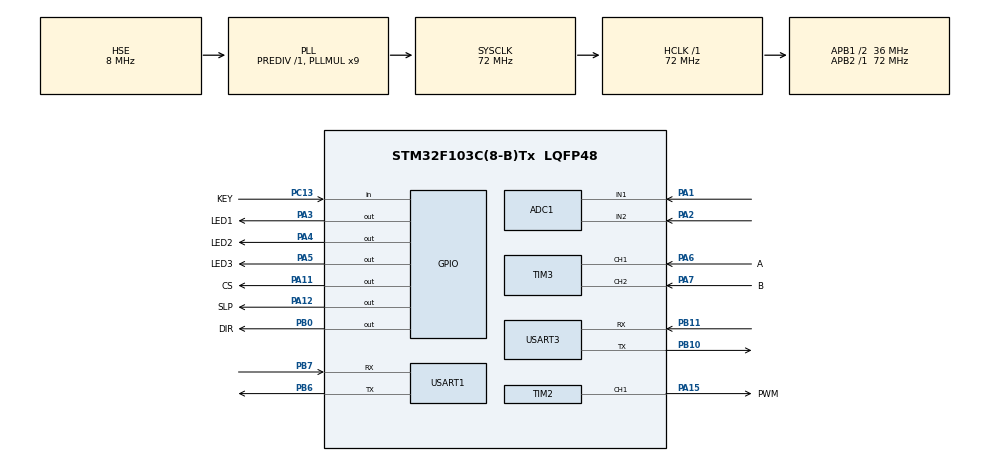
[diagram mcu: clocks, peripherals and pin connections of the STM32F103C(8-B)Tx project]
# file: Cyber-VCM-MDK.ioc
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ADC1.Channel-0\#ChannelRegularConversion=ADC_CHANNEL_1
ADC1.Channel-1\#ChannelRegularConversion=ADC_CHANNEL_2
ADC1.ContinuousConvMode=ENABLE
ADC1.DiscontinuousConvMode=DISABLE
ADC1.NbrOfConversion=2
ADC1.NbrOfConversionFlag=1
ADC1.Rank-0\#ChannelRegularConversion=1
ADC1.Rank-1\#ChannelRegularConversion=2
ADC1.SamplingTime-0\#ChannelRegularConversion=ADC_SAMPLETIME_55CYCLES_5
ADC1.SamplingTime-1\#ChannelRegularConversion=ADC_SAMPLETIME_13CYCLES_5
ADC1.master=1
FREERTOS.Tasks01=GetDataTask,24,128,StartGetDataTask,Default,NULL,Dynamic,NULL,NULL;ShowDataTask,8,128,StartShowDataTask,Default,NULL,Dynamic,NULL,NULL;ControlMethodTa,8,128,StartControlMethodTask,Default,NULL,Dynamic,NULL,NULL
Mcu.Family=STM32F1
Mcu.Name=STM32F103C(8-B)Tx
Mcu.Package=LQFP48
NVIC.ADC1_2_IRQn=true\:5\:0\:true\:false\:true\:true\:true\:true
NVIC.PriorityGroup=NVIC_PRIORITYGROUP_4
NVIC.TIM1_UP_IRQn=true\:15\:0\:false\:false\:true\:false\:false\:true
NVIC.TIM4_IRQn=true\:5\:0\:false\:false\:true\:true\:true\:true
NVIC.TimeBase=TIM1_UP_IRQn
NVIC.TimeBaseIP=TIM1
NVIC.USART1_IRQn=true\:5\:0\:false\:false\:true\:true\:true\:true
NVIC.USART3_IRQn=true\:5\:0\:false\:false\:true\:true\:true\:true
PA1.Signal=ADCx_IN1
PA11.GPIO_Label=CS
PA11.Signal=GPIO_Output
PA12.GPIO_Label=SLP
PA12.Signal=GPIO_Output
PA13.Mode=Serial_Wire
PA13.Signal=SYS_JTMS-SWDIO
PA14.Mode=Serial_Wire
PA14.Signal=SYS_JTCK-SWCLK
PA15.GPIO_Label=PWM
PA15.Signal=S_TIM2_CH1_ETR
PA2.Signal=ADCx_IN2
PA3.GPIO_Label=LED1
PA3.Signal=GPIO_Output
PA4.GPIO_Label=LED2
PA4.Signal=GPIO_Output
PA5.GPIO_Label=LED3
PA5.Signal=GPIO_Output
PA6.GPIO_Label=A
PA6.Signal=S_TIM3_CH1
PA7.GPIO_Label=B
PA7.Signal=S_TIM3_CH2
PB0.GPIO_Label=DIR
PB0.Signal=GPIO_Output
PB10.Mode=Asynchronous
PB10.Signal=USART3_TX
PB11.Mode=Asynchronous
PB11.Signal=USART3_RX
PB6.Mode=Asynchronous
PB6.Signal=USART1_TX
PB7.GPIO_PuPd=GPIO_PULLUP
PB7.Mode=Asynchronous
PB7.Signal=USART1_RX
PC13-TAMPER-RTC.GPIO_Label=KEY
PC13-TAMPER-RTC.Signal=GPIO_Input
PD0-OSC_IN.Mode=HSE-External-Oscillator
PD0-OSC_IN.Signal=RCC_OSC_IN
PD1-OSC_OUT.Mode=HSE-External-Oscillator
PD1-OSC_OUT.Signal=RCC_OSC_OUT
ProjectManager.HeapSize=0x200
ProjectManager.StackSize=0x400
ProjectManager.TargetToolchain=MDK-ARM V5.32
RCC.ADCPresc=RCC_ADCPCLK2_DIV6
RCC.AHBFreq_Value=72000000
RCC.APB1CLKDivider=RCC_HCLK_DIV2
RCC.APB1Freq_Value=36000000
RCC.APB1TimFreq_Value=72000000
RCC.APB2Freq_Value=72000000
RCC.APB2TimFreq_Value=72000000
RCC.HCLKFreq_Value=72000000
RCC.PLLMUL=RCC_PLL_MUL9
RCC.PLLSourceVirtual=RCC_PLLSOURCE_HSE
RCC.SYSCLKFreq_VALUE=72000000
RCC.SYSCLKSource=RCC_SYSCLKSOURCE_PLLCLK
RCC.USBFreq_Value=72000000
SH.ADCx_IN1.0=ADC1_IN1,IN1
SH.ADCx_IN2.0=ADC1_IN2,IN2
SH.S_TIM2_CH1_ETR.0=TIM2_CH1,PWM Generation1 CH1
SH.S_TIM3_CH1.0=TIM3_CH1,Encoder_Interface
SH.S_TIM3_CH2.0=TIM3_CH2,Encoder_Interface
TIM2.Channel-PWM\ Generation1\ CH1=TIM_CHANNEL_1
TIM2.Period=50-1
TIM2.Prescaler=72-1
TIM4.AutoReloadPreload=TIM_AUTORELOAD_PRELOAD_ENABLE
TIM4.Period=199
TIM4.Prescaler=7199
USART1.VirtualMode=VM_ASYNC
USART3.VirtualMode=VM_ASYNC
VP_FREERTOS_VS_CMSIS_V2.Mode=CMSIS_V2
VP_SYS_VS_tim1.Mode=TIM1
VP_TIM2_VS_ClockSourceINT.Mode=Internal
VP_TIM4_VS_ClockSourceINT.Mode=Internal
board=custom

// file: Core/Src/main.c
/* USER CODE BEGIN Header */
/**
  ******************************************************************************
  * @file           : main.c
  * @brief          : Main program body
  ******************************************************************************
  * @attention
  *
  * <h2><center>&copy; Copyright (c) 2021 STMicroelectronics.
  * All rights reserved.</center></h2>
  *
  * This software component is licensed by ST under Ultimate Liberty license
  * SLA0044, the "License"; You may not use this file except in compliance with
  * the License. You may obtain a copy of the License at:
  *                             www.st.com/SLA0044
  *
  ******************************************************************************
  */

/**
 * @brief Cyber-VCM Main Promgram
 * @time 2021.11 Written By Mr. Panghong
 * @note Voice Coil Motor Position Control Item
 */

/* USER CODE END Header */
#include "main.h"
#include "cmsis_os.h"
#include "adc.h"
#include "tim.h"
#include "usart.h"
#include "gpio.h"

/* USER CODE BEGIN Includes */
#include "AM26C32.h"
#include "MotorADC.h"
#include "VCMControl.h"
#include "param.h"
#include "SpeedPID.h"
#include "tof200f_uart.h"
#include "oled.h"
/* USER CODE END Includes */

void SystemClock_Config(void);
void MX_FREERTOS_Init(void);

int main(void)
{
  /* USER CODE BEGIN 1 */
  //unsigned int distance;
  /* USER CODE END 1 */

  /* MCU Configuration--------------------------------------------------------*/

  /* Reset of all peripherals, Initializes the Flash interface and the Systick. */
  HAL_Init();

  /* Configure the system clock */
  SystemClock_Config();

  /* Initialize all configured peripherals */
  MX_GPIO_Init();
  MX_ADC1_Init();
  MX_TIM2_Init();
  MX_TIM3_Init();
  MX_USART1_UART_Init();
  MX_TIM4_Init();
  MX_USART3_UART_Init();
  /* USER CODE BEGIN 2 */
  if(HAL_ADC_Start_IT(&hadc1) != HAL_OK){
	HAL_GPIO_TogglePin(LED1_GPIO_Port, LED1_Pin);
  }
  HAL_TIM_Base_Start_IT(&htim4);
  //MotorADCStartDMA();	//Start ADC Transfer
  HAL_GPIO_WritePin(CS_GPIO_Port, CS_Pin, GPIO_PIN_SET);
  HAL_GPIO_WritePin(SLP_GPIO_Port, SLP_Pin, GPIO_PIN_SET);
  HAL_TIM_PWM_Start(&htim2, TIM_CHANNEL_1);//start pwm
  /**
   * @brief 电机回到原点操作
   * @note 因为光栅编码器是相对位置式，因此在光栅初始化之前需要驱动电机回原点
   */
  VCMGoToOrigin();
  VCMEncoderInit();
  tof200f_init();
  OLED_Init();
  HAL_Delay(50);
  OLED_Windows_Style1();
  printf("System Init Successful\n");
  /* USER CODE END 2 */

  /* Init scheduler */
  osKernelInitialize();  /* Call init function for freertos objects (in freertos.c) */
  MX_FREERTOS_Init();
  /* Start scheduler */
  osKernelStart();

  /* We should never get here as control is now taken by the scheduler */
  /* Infinite loop */
  /* USER CODE BEGIN WHILE */
  //tof200f_init();
  while (1)
  {
    /* USER CODE END WHILE */

    /* USER CODE BEGIN 3 */
	//distance = tof200f_trans();
  }
  /* USER CODE END 3 */
}

void SystemClock_Config(void)
{
  RCC_OscInitTypeDef RCC_OscInitStruct = {0};
  RCC_ClkInitTypeDef RCC_ClkInitStruct = {0};
  RCC_PeriphCLKInitTypeDef PeriphClkInit = {0};

  /** Initializes the RCC Oscillators according to the specified parameters
  * in the RCC_OscInitTypeDef structure.
  */
  RCC_OscInitStruct.OscillatorType = RCC_OSCILLATORTYPE_HSE;
  RCC_OscInitStruct.HSEState = RCC_HSE_ON;
  RCC_OscInitStruct.HSEPredivValue = RCC_HSE_PREDIV_DIV1;
  RCC_OscInitStruct.HSIState = RCC_HSI_ON;
  RCC_OscInitStruct.PLL.PLLState = RCC_PLL_ON;
  RCC_OscInitStruct.PLL.PLLSource = RCC_PLLSOURCE_HSE;
  RCC_OscInitStruct.PLL.PLLMUL = RCC_PLL_MUL9;
  if (HAL_RCC_OscConfig(&RCC_OscInitStruct) != HAL_OK)
  {
    Error_Handler();
  }
  /** Initializes the CPU, AHB and APB buses clocks
  */
  RCC_ClkInitStruct.ClockType = RCC_CLOCKTYPE_HCLK|RCC_CLOCKTYPE_SYSCLK
                              |RCC_CLOCKTYPE_PCLK1|RCC_CLOCKTYPE_PCLK2;
  RCC_ClkInitStruct.SYSCLKSource = RCC_SYSCLKSOURCE_PLLCLK;
  RCC_ClkInitStruct.AHBCLKDivider = RCC_SYSCLK_DIV1;
  RCC_ClkInitStruct.APB1CLKDivider = RCC_HCLK_DIV2;
  RCC_ClkInitStruct.APB2CLKDivider = RCC_HCLK_DIV1;

  if (HAL_RCC_ClockConfig(&RCC_ClkInitStruct, FLASH_LATENCY_2) != HAL_OK)
  {
    Error_Handler();
  }
  PeriphClkInit.PeriphClockSelection = RCC_PERIPHCLK_ADC;
  PeriphClkInit.AdcClockSelection = RCC_ADCPCLK2_DIV6;
  if (HAL_RCCEx_PeriphCLKConfig(&PeriphClkInit) != HAL_OK)
  {
    Error_Handler();
  }
}

/* USER CODE BEGIN 4 */
extern Main_Data main_data;
extern PWM_Control_Params pwm_control_params;
/* USER CODE END 4 */

void HAL_TIM_PeriodElapsedCallback(TIM_HandleTypeDef *htim)
{
  if (htim->Instance == TIM1) {
    HAL_IncTick();
  }
}

void Error_Handler(void)
{
  __disable_irq();
  while (1)
  {
  }
}

/************************ (C) COPYRIGHT STMicroelectronics *****END OF FILE****/

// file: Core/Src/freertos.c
/* USER CODE BEGIN Header */
/**
  ******************************************************************************
  * File Name          : freertos.c
  * Description        : Code for freertos applications
  ******************************************************************************
  * @attention
  *
  * <h2><center>&copy; Copyright (c) 2021 STMicroelectronics.
  * All rights reserved.</center></h2>
  *
  * This software component is licensed by ST under Ultimate Liberty license
  * SLA0044, the "License"; You may not use this file except in compliance with
  * the License. You may obtain a copy of the License at:
  *                             www.st.com/SLA0044
  *
  ******************************************************************************
  */
/* USER CODE END Header */

#include "FreeRTOS.h"
#include "task.h"
#include "main.h"
#include "cmsis_os.h"

/* USER CODE BEGIN Includes */
#include "stdio.h"
#include "SpeedPID.h"
#include "PositionPID.h"
#include "adc.h"
#include "MotorADC.h"
#include "tim.h"
#include "param.h"
#include "VCMControl.h"
#include "stdlib.h"
#include "AM26C32.h"
#include "tof200f_uart.h"
#include "oled.h"
#include "gpio.h"
/* USER CODE END Includes */

/* USER CODE BEGIN PM */
float set_speed = 5.0;
float Motor_speed = 0.0;
float error_speed = 0.0;
float error_speed_I = 0.0;
float error_speed_old = 0.0;  //上一次的误差
float error_speed_old2 = 0.0;  //上上次的误差
float pre_position = 0.0;
float set_position = 0.3;

float Actual_Position = 0.0;
float error_position = 0.0;
float error_position_old = 0.0;
float error_position_old2 = 0.0;

/*float Kp_Speed = 20.0;
float Ki_Speed = 0.16;
float Kd_Speed = 0.0;*/

float Kp_Position = 40.0;
float Ki_Position = 8.0;
float Kd_Position = 0.0;

unsigned int distance;
float dis;

/* USER CODE END PM */

/* USER CODE BEGIN Variables */
extern Main_Data main_data;
extern PWM_Control_Params pwm_control_params;
/* USER CODE END Variables */
/* Definitions for GetDataTask */
osThreadId_t GetDataTaskHandle;
const osThreadAttr_t GetDataTask_attributes = {
  .name = "GetDataTask",
  .stack_size = 128 * 4,
  .priority = (osPriority_t) osPriorityNormal,
};
/* Definitions for ShowDataTask */
osThreadId_t ShowDataTaskHandle;
const osThreadAttr_t ShowDataTask_attributes = {
  .name = "ShowDataTask",
  .stack_size = 128 * 4,
  .priority = (osPriority_t) osPriorityLow,
};
/* Definitions for ControlMethodTa */
osThreadId_t ControlMethodTaHandle;
const osThreadAttr_t ControlMethodTa_attributes = {
  .name = "ControlMethodTa",
  .stack_size = 128 * 4,
  .priority = (osPriority_t) osPriorityLow,
};

void StartGetDataTask(void *argument);
void StartShowDataTask(void *argument);
void StartControlMethodTask(void *argument);

void MX_FREERTOS_Init(void); /* (MISRA C 2004 rule 8.1) */

void MX_FREERTOS_Init(void) {

  /* Create the thread(s) */
  /* creation of GetDataTask */
  GetDataTaskHandle = osThreadNew(StartGetDataTask, NULL, &GetDataTask_attributes);

  /* creation of ShowDataTask */
  ShowDataTaskHandle = osThreadNew(StartShowDataTask, NULL, &ShowDataTask_attributes);

  /* creation of ControlMethodTa */
  ControlMethodTaHandle = osThreadNew(StartControlMethodTask, NULL, &ControlMethodTa_attributes);

}

/**
* @brief 2022.5.4 控制目标设定任务
* @note set_position
*/
void StartGetDataTask(void *argument)
{
  /* USER CODE BEGIN StartGetDataTask */

  /* Infinite loop */
  for(;;)
  {
	  OLED_ShowNum(0, 32, distance, 5, 24, 1);
	  OLED_Refresh();
	  HAL_GPIO_TogglePin(LED1_GPIO_Port, LED1_Pin);
	  osDelay(50);
  }
  /* USER CODE END StartGetDataTask */
}

/**
* @brief 2022.5.2 数据交互任务
* @note 此任务中主要完成传感器数据获取，显示与输出操作
* <1> ADC采用中断模式，因为DMA不知道啥原因，数据出不来
*/
void StartShowDataTask(void *argument)
{
  /* USER CODE BEGIN StartShowDataTask */
  //char posi_buff[5], spee_buff[5], voil_buff[5], curr_buff[5];
  //float ADC_Value[2], fake_voil = 3.31;
  /* Infinite loop */
  for(;;)
  {
	  /*
	  main_data.Actual_Speed = GetVCMPreSpeed();
	  main_data.Actual_Position = GetVCMPositon();
	  pre_position = VCMEncoderGetPosition();
	  sprintf(spee_buff, "%0.3f", main_data.Actual_Speed);
	  sprintf(posi_buff, "%0.3f", main_data.Actual_Position);
	  OLED_ShowString(20, 28, (uint8_t*)posi_buff, 16, 1);
	  OLED_ShowString(20, 46, (uint8_t*)"        ", 16, 1);
	  OLED_ShowString(20, 46, (uint8_t*)spee_buff, 16, 1);
	  Get_ADC_Value(ADC_Value);
	  sprintf(curr_buff, "%0.3f", ADC_Value[0]);
	  OLED_ShowString(20, 62, (uint8_t*)curr_buff, 16, 1);
	  sprintf(voil_buff, "%0.2f", fake_voil);
	  OLED_ShowString(66, 4, (uint8_t*)voil_buff, 24, 1);
	  distance = tof200f_trans();
	  OLED_ShowNum(96, 28, distance, 4, 16, 1);
	  if(main_data.Actual_Speed > 0){
		  OLED_ShowString(86, 46, (uint8_t*)"DIR:+", 16, 1);
	  }else if(main_data.Actual_Speed < 0){
		  OLED_ShowString(86, 46, (uint8_t*)"DIR:-", 16, 1);
	  }else{
		  OLED_ShowString(86, 46, (uint8_t*)"DIR: ", 16, 1);
	  }
	  */
	  //OLED_Refresh();
	  main_data.Actual_Speed = GetVCMPreSpeed();
	  main_data.Actual_Position = GetVCMPositon();
	  pre_position = VCMEncoderGetPosition();

	  distance = tof200f_trans();

	  osDelay(10);
  }
  /* USER CODE END StartShowDataTask */
}

void StartControlMethodTask(void *argument)
{
  /* USER CODE BEGIN StartControlMethodTask */
  pwm_control_params.Duty = 0.0;  //Duty represent the force of VCM
  pwm_control_params.DIR = 1;     //DIR represent the direction of VCM
  //set_position = 0.1;
  //set_speed = 0.05;
  /* Infinite loop */

  for(;;)
  {
	  //main_data.Actual_Speed = GetVCMPreSpeed();
	  Actual_Position = VCMEncoderGetPosition();
	  //获取偏差
	  //error_speed = set_speed - main_data.Actual_Speed;
	  error_position = set_position - Actual_Position;
	  printf("%0.4f, %0.4f\n", set_position, Actual_Position);
	  //积分当前偏差
	  //error_speed_I += error_speed;

	  /*if(error_position > 0){
		  HAL_GPIO_WritePin(DIR_GPIO_Port, DIR_Pin, GPIO_PIN_RESET);
	  }
	  if(error_position < 0){
		  HAL_GPIO_WritePin(DIR_GPIO_Port, DIR_Pin, GPIO_PIN_SET);
	  }*/

	  //积分限幅
	  /*if(error_speed_I > 1000)
		  error_speed_I = 1000;
	  if(error_speed_I < -1000)
		  error_speed_I = -1000;*/

	  //增量式PID控制
	  //pwm_control_params.Duty += Kp*(error_speed-error_speed_old)+Ki*error_speed+Kd*(error_speed-2*error_speed_old+error_speed_old2);

	  //位置式PID控制
	  //pwm_control_params.Duty = Kp * error_speed + Ki * (error_speed_I) + Kd * (error_speed-error_speed_old);

	  //位置环增量式PID
	  pwm_control_params.Duty += Kp_Position * (error_position - error_position_old) + Ki_Position * error_position;

	  //速度更新
	  /*error_speed_old = error_speed;  // 本次速度给上次速度
	  error_speed_old2 = error_speed_old;*/

	  //位置更新
	  error_position_old = error_position;  // 本次速度给上次速度
	  error_position_old2 = error_position_old;

	   //error_speed_old2 = error_speed_old;
	   //error_speed_old = error_speed;

	  /*if(pwm_control_params.Duty > 50){
		  pwm_control_params.Duty = 50;
	  }
	  if(pwm_control_params.Duty < -50){
		  pwm_control_params.Duty = -50;
	  }*/

	  /*if(set_speed > 0){
		  HAL_GPIO_WritePin(DIR_GPIO_Port, DIR_Pin, GPIO_PIN_RESET);
	  }
	  if(set_speed < 0){
		  HAL_GPIO_WritePin(DIR_GPIO_Port, DIR_Pin, GPIO_PIN_SET);
	  }*/

	  if(error_position > 0){
		  HAL_GPIO_WritePin(DIR_GPIO_Port, DIR_Pin, GPIO_PIN_SET);
	  }
	  if(error_position < 0){
		  HAL_GPIO_WritePin(DIR_GPIO_Port, DIR_Pin, GPIO_PIN_RESET);
	  }

	  //设置占空比
	  //__HAL_TIM_SET_COMPARE(&htim2, TIM_CHANNEL_1, abs((int)pwm_control_params.Duty));
		__HAL_TIM_SET_COMPARE(&htim2, TIM_CHANNEL_1, abs((int)pwm_control_params.Duty));
	  osDelay(20);

	}
  /* USER CODE END StartControlMethodTask */
}

/************************ (C) COPYRIGHT STMicroelectronics *****END OF FILE****/
